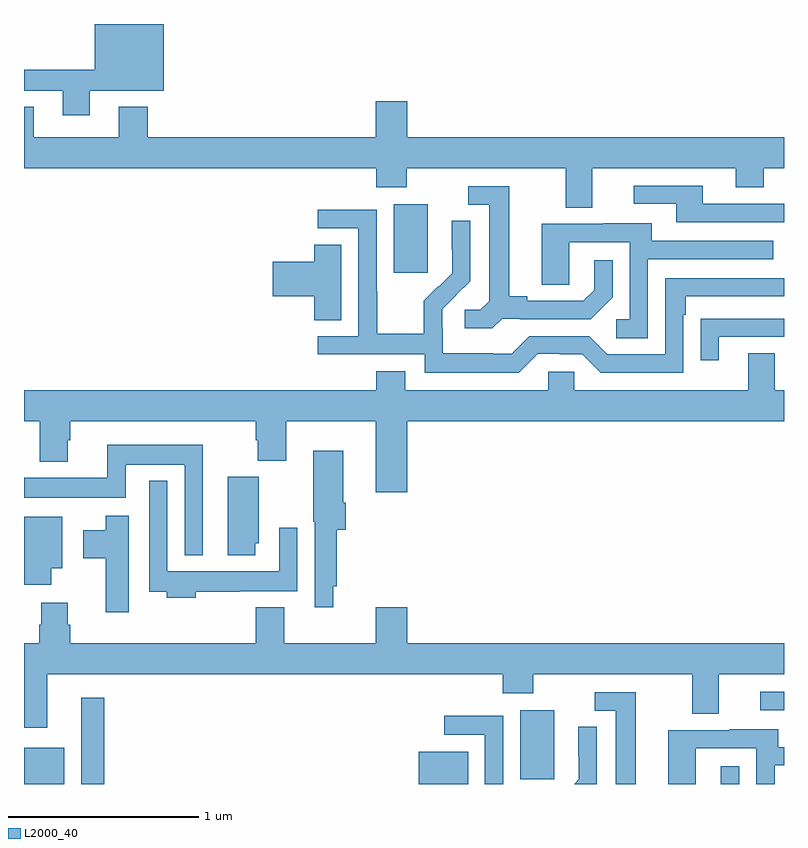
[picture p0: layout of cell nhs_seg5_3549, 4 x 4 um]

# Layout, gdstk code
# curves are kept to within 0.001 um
import gdstk
lib = gdstk.Library(unit=1e-6, precision=1e-09)
def R(c, l, rs):  # rectangles x0, y0, x1, y1
    for r in rs: c.add(gdstk.rectangle(r[:2], r[2:], *l))
def P(c, l, *ps):  # polygons
    for p in ps: c.add(gdstk.Polygon(p, *l))
L2000_40 = (2000, 40)

nhs_seg5_3549 = lib.new_cell('nhs_seg5_3549')
R(nhs_seg5_3549, L2000_40, [(319,906.799,319.213,906.991), (319.301,906.799,319.423,907.252), (321.077,906.799,321.337,906.97), (322.667,906.799,322.764,906.892), (321.611,906.825,321.79,907.186), (322.875,907.188,323,907.284), (320.945,909.489,321.124,909.85)])
P(nhs_seg5_3549, L2000_40, [(319.345,910.448),(319.735,910.448),(319.735,910.799),(319.373,910.799),(319.373,910.558),(319,910.558),(319,910.449),(319.205,910.449),(319.205,910.32),(319.345,910.32)],
  [(321.991,910.04),(322.745,910.04),(322.745,909.941),(322.893,909.941),(322.893,910.04),(323,910.04),(323,910.204),(321.016,910.204),(321.016,910.393),(320.852,910.393),(320.852,910.204),(319.652,910.204),(319.652,910.363),(319.499,910.363),(319.499,910.204),(319.051,910.204),(319.051,910.364),(319,910.364),(319,910.04),(320.855,910.04),(320.855,909.941),(321.015,909.941),(321.015,910.04),(321.851,910.04),(321.851,909.832),(321.991,909.832)],
  [(323,909.852),(322.573,909.852),(322.573,909.948),(322.209,909.948),(322.209,909.852),(322.433,909.852),(322.433,909.756),(323,909.756)],
  [(321.516,909.249),(321.61,909.249),(321.61,909.246),(321.982,909.246),(322.098,909.362),(322.098,909.556),(322.001,909.556),(322.001,909.399),(321.944,909.342),(321.649,909.342),(321.649,909.365),(321.553,909.365),(321.553,909.945),(321.339,909.945),(321.339,909.849),(321.449,909.849),(321.449,909.341),(321.402,909.294),(321.321,909.294),(321.321,909.197),(321.464,909.197)],
  [(321.705,909.063),(321.821,909.063),(321.821,909.06),(321.939,909.06),(322.035,908.964),(322.47,908.964),(322.47,909.269),(322.483,909.269),(322.483,909.366),(323,909.366),(323,909.462),(322.374,909.462),(322.374,909.06),(322.071,909.06),(321.975,909.156),(321.66,909.156),(321.567,909.063),(321.467,909.063),(321.467,909.067),(321.204,909.067),(321.204,909.201),(321.202,909.201),(321.202,909.298),(321.348,909.446),(321.348,909.764),(321.252,909.764),(321.252,909.61),(321.254,909.61),(321.254,909.488),(321.183,909.417),(321.18,909.42),(321.103,909.343),(321.103,909.169),(320.859,909.169),(320.859,909.392),(320.856,909.392),(320.856,909.822),(320.547,909.822),(320.547,909.723),(320.76,909.723),(320.76,909.156),(320.547,909.156),(320.547,909.06),(321.108,909.06),(321.108,908.963),(321.605,908.963)],
  [(322.284,909.561),(322.943,909.561),(322.943,909.657),(322.303,909.657),(322.303,909.751),(322.049,909.751),(322.049,909.747),(321.725,909.747),(321.725,909.427),(321.87,909.427),(321.87,909.651),(322.188,909.651),(322.188,909.246),(322.116,909.246),(322.116,909.145),(322.284,909.145)],
  [(320.671,909.638),(320.528,909.638),(320.528,909.548),(320.31,909.548),(320.31,909.365),(320.528,909.365),(320.528,909.241),(320.671,909.241)],
  [(322.657,909.153),(323,909.153),(323,909.249),(322.663,909.249),(322.663,909.248),(322.561,909.248),(322.561,909.03),(322.657,909.03)],
  [(321.016,908.708),(323,908.708),(323,908.872),(322.951,908.872),(322.951,909.067),(322.811,909.067),(322.811,908.872),(321.897,908.872),(321.897,908.97),(321.759,908.97),(321.759,908.872),(321.007,908.872),(321.007,908.971),(320.855,908.971),(320.855,908.872),(319,908.872),(319,908.708),(319.084,908.708),(319.084,908.495),(319.231,908.495),(319.231,908.607),(319.244,908.607),(319.244,908.708),(320.219,908.708),(320.219,908.609),(320.231,908.609),(320.231,908.5),(320.379,908.5),(320.379,908.708),(320.852,908.708),(320.852,908.334),(321.016,908.334)],
  [(319.942,908.584),(319.439,908.584),(319.439,908.41),(319,908.41),(319,908.306),(319.536,908.306),(319.536,908.48),(319.845,908.48),(319.845,908.003),(319.942,908.003)],
  [(320.628,907.84),(320.645,907.84),(320.645,908.138),(320.693,908.138),(320.693,908.278),(320.68,908.278),(320.68,908.554),(320.522,908.554),(320.522,908.178),(320.529,908.178),(320.529,907.728),(320.628,907.728)],
  [(320.218,908.067),(320.236,908.067),(320.236,908.415),(320.072,908.415),(320.072,908.004),(320.218,908.004)],
  [(319.904,907.812),(320.135,907.812),(320.135,907.814),(320.439,907.814),(320.439,908.149),(320.343,908.149),(320.343,907.918),(319.755,907.918),(319.755,908.395),(319.659,908.395),(319.659,907.812),(319.751,907.812),(319.751,907.778),(319.904,907.778)],
  [(319.552,908.212),(319.43,908.212),(319.43,908.134),(319.313,908.134),(319.313,907.987),(319.43,907.987),(319.43,907.704),(319.552,907.704)],
  [(319.144,907.934),(319.201,907.934),(319.201,908.206),(319,908.206),(319,907.848),(319.144,907.848)],
  [(319.123,907.376),(321.521,907.376),(321.521,907.277),(321.681,907.277),(321.681,907.376),(322.517,907.376),(322.517,907.168),(322.657,907.168),(322.657,907.376),(323,907.376),(323,907.54),(321.016,907.54),(321.016,907.729),(320.852,907.729),(320.852,907.54),(320.371,907.54),(320.371,907.729),(320.219,907.729),(320.219,907.54),(319.244,907.54),(319.244,907.638),(319.231,907.638),(319.231,907.753),(319.091,907.753),(319.091,907.638),(319.079,907.638),(319.079,907.54),(319,907.54),(319,907.376),(319.002,907.376),(319.002,907.095),(319.123,907.095)],
  [(322.219,907.281),(322.005,907.281),(322.005,907.185),(322.115,907.185),(322.115,906.799),(322.219,906.799)],
  [(321.522,907.158),(321.213,907.158),(321.213,907.059),(321.426,907.059),(321.426,906.799),(321.522,906.799)],
  [(322.014,907.1),(321.918,907.1),(321.918,906.946),(321.92,906.946),(321.92,906.824),(321.895,906.799),(322.014,906.799)],
  [(322.536,906.987),(322.854,906.987),(322.854,906.799),(322.95,906.799),(322.95,906.897),(323,906.897),(323,906.993),(322.969,906.993),(322.969,907.087),(322.715,907.087),(322.715,907.083),(322.391,907.083),(322.391,906.799),(322.536,906.799)])

lib.write_gds('nhs_seg5_3549.gds')
